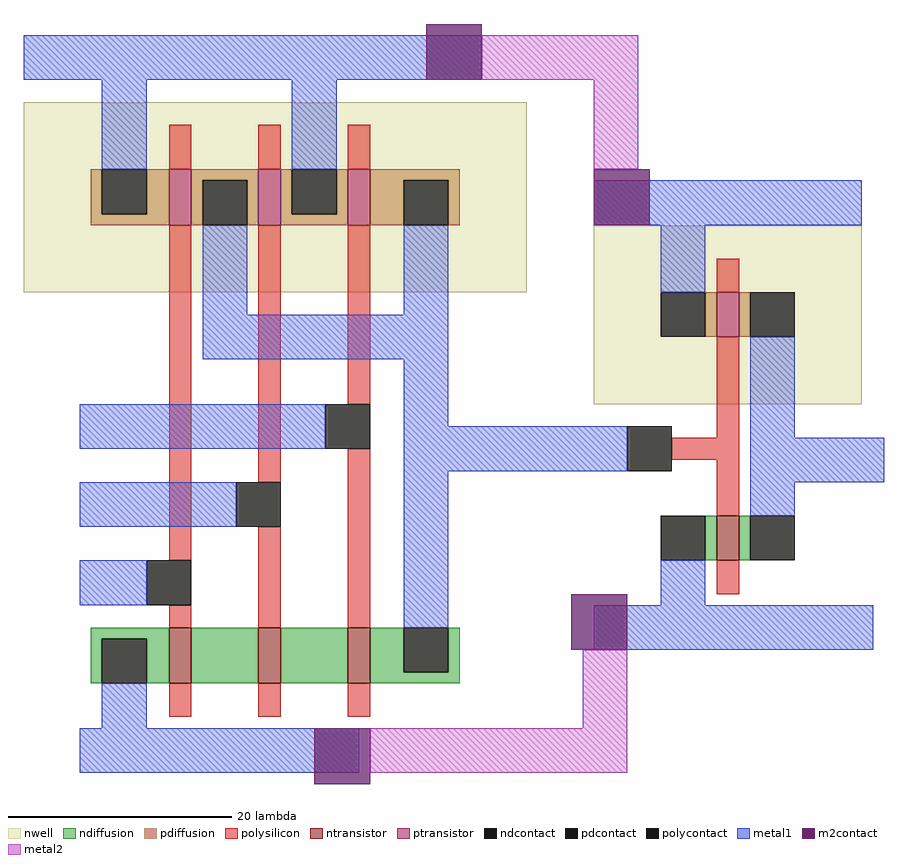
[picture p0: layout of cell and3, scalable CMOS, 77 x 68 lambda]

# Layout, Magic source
magic
tech scmos
<< metal1 >>
rect 0 62 1 66
rect 5 29 6 33
rect 37 27 52 31
rect 76 26 77 30
rect 5 22 6 26
rect 5 15 6 19
rect 5 0 6 4
<< m2contact >>
rect 36 62 41 67
rect 51 49 56 54
rect 49 11 54 16
rect 26 -1 31 4
<< metal2 >>
rect 41 62 55 66
rect 51 54 55 62
rect 50 4 54 11
rect 31 0 54 4
use inverter  inverter_0
transform 1 0 83 0 1 45
box -32 -34 -7 8
use nand3  nand3_0
transform 1 0 8 0 1 46
box -8 -46 37 20
<< end >>

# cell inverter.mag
magic
tech scmos
<< nwell >>
rect -32 -12 -8 4
<< ntransistor >>
rect -21 -26 -19 -22
<< ptransistor >>
rect -21 -6 -19 -2
<< ndiffusion >>
rect -22 -26 -21 -22
rect -19 -26 -18 -22
<< pdiffusion >>
rect -22 -6 -21 -2
rect -19 -6 -18 -2
<< ndcontact >>
rect -26 -26 -22 -22
rect -18 -26 -14 -22
<< pdcontact >>
rect -26 -6 -22 -2
rect -18 -6 -14 -2
<< polysilicon >>
rect -21 -2 -19 1
rect -21 -15 -19 -6
rect -25 -17 -19 -15
rect -21 -22 -19 -17
rect -21 -29 -19 -26
<< polycontact >>
rect -29 -18 -25 -14
<< metal1 >>
rect -32 4 -8 8
rect -26 -2 -22 4
rect -32 -18 -29 -14
rect -18 -15 -14 -6
rect -18 -19 -7 -15
rect -18 -22 -14 -19
rect -26 -30 -22 -26
rect -32 -34 -7 -30
<< end >>

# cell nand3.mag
magic
tech scmos
<< nwell >>
rect -8 -3 37 14
<< ntransistor >>
rect 5 -38 7 -33
rect 13 -38 15 -33
rect 21 -38 23 -33
<< ptransistor >>
rect 5 3 7 8
rect 13 3 15 8
rect 21 3 23 8
<< ndiffusion >>
rect -2 -34 5 -33
rect -2 -38 -1 -34
rect 3 -38 5 -34
rect 7 -38 13 -33
rect 15 -38 21 -33
rect 23 -37 26 -33
rect 30 -37 31 -33
rect 23 -38 31 -37
<< pdiffusion >>
rect -2 4 -1 8
rect 3 4 5 8
rect -2 3 5 4
rect 7 7 13 8
rect 7 3 8 7
rect 12 3 13 7
rect 15 4 16 8
rect 20 4 21 8
rect 15 3 21 4
rect 23 7 31 8
rect 23 3 26 7
rect 30 3 31 7
<< ndcontact >>
rect -1 -38 3 -34
rect 26 -37 30 -33
<< pdcontact >>
rect -1 4 3 8
rect 8 3 12 7
rect 16 4 20 8
rect 26 3 30 7
<< polysilicon >>
rect 5 8 7 12
rect 13 8 15 12
rect 21 8 23 12
rect 5 -27 7 3
rect 13 -20 15 3
rect 21 -13 23 3
rect 5 -33 7 -31
rect 13 -33 15 -24
rect 21 -33 23 -17
rect 5 -41 7 -38
rect 13 -41 15 -38
rect 21 -41 23 -38
<< polycontact >>
rect 19 -17 23 -13
rect 11 -24 15 -20
rect 3 -31 7 -27
<< metal1 >>
rect -7 16 33 20
rect -1 8 3 16
rect 16 8 20 16
rect 8 -5 12 3
rect 26 -5 30 3
rect 8 -9 30 -5
rect -2 -17 19 -13
rect 26 -15 30 -9
rect 26 -19 33 -15
rect -2 -24 11 -20
rect -2 -31 3 -27
rect 26 -33 30 -19
rect -1 -42 3 -38
rect -2 -46 22 -42
<< end >>
